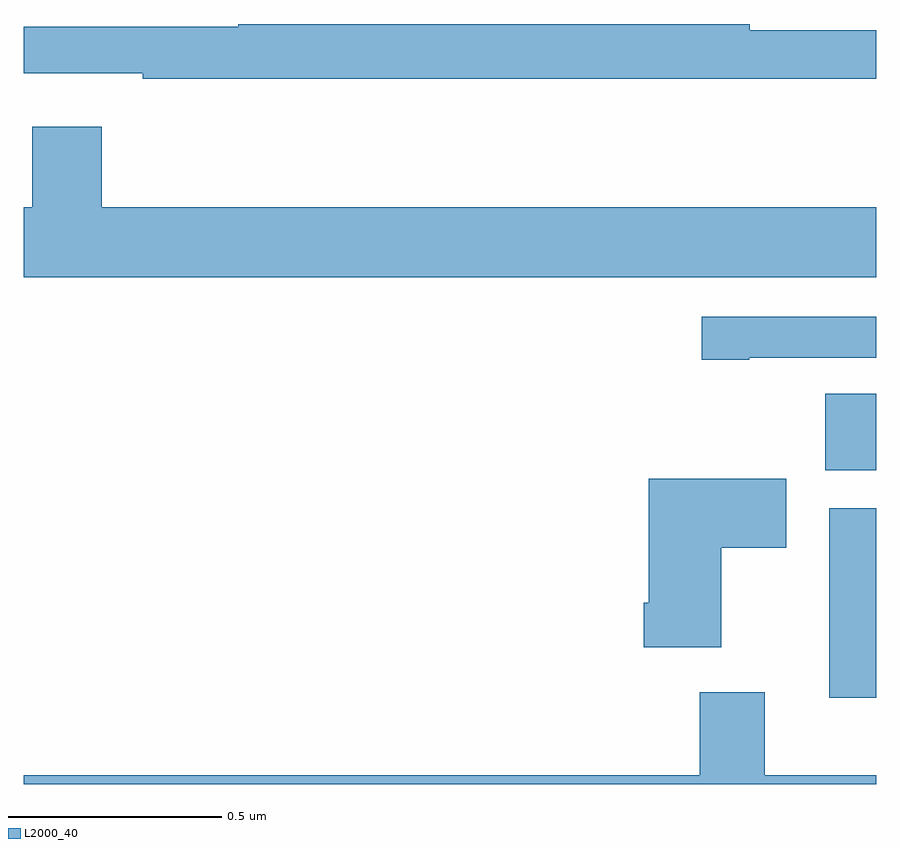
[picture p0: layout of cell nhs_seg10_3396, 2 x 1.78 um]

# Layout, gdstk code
import gdstk
lib = gdstk.Library(unit=1e-6, precision=1e-09)
def R(c, l, rs):  # rectangles x0, y0, x1, y1
    for r in rs: c.add(gdstk.rectangle(r[:2], r[2:], *l))
def P(c, l, *ps):  # polygons
    for p in ps: c.add(gdstk.Polygon(p, *l))
L2000_40 = (2000, 40)

nhs_seg10_3396 = lib.new_cell('nhs_seg10_3396')
R(nhs_seg10_3396, L2000_40, [(154.889,1260.702,155,1261.147), (154.88,1261.236,155,1261.415)])
P(nhs_seg10_3396, L2000_40, [(155,1262.267),(154.703,1262.267),(154.703,1262.282),(153.503,1262.282),(153.503,1262.275),(153,1262.275),(153,1262.166),(153.28,1262.166),(153.28,1262.154),(155,1262.154)],
  [(155,1261.852),(153.184,1261.852),(153.184,1262.041),(153.02,1262.041),(153.02,1261.852),(153,1261.852),(153,1261.688),(155,1261.688)],
  [(154.702,1261.5),(155,1261.5),(155,1261.596),(154.59,1261.596),(154.59,1261.495),(154.702,1261.495)],
  [(154.636,1261.054),(154.789,1261.054),(154.789,1261.216),(154.466,1261.216),(154.466,1260.925),(154.454,1260.925),(154.454,1260.821),(154.636,1260.821)],
  [(155,1260.52),(154.738,1260.52),(154.738,1260.715),(154.586,1260.715),(154.586,1260.52),(153,1260.52),(153,1260.5),(155,1260.5)])

lib.write_gds('nhs_seg10_3396.gds')
